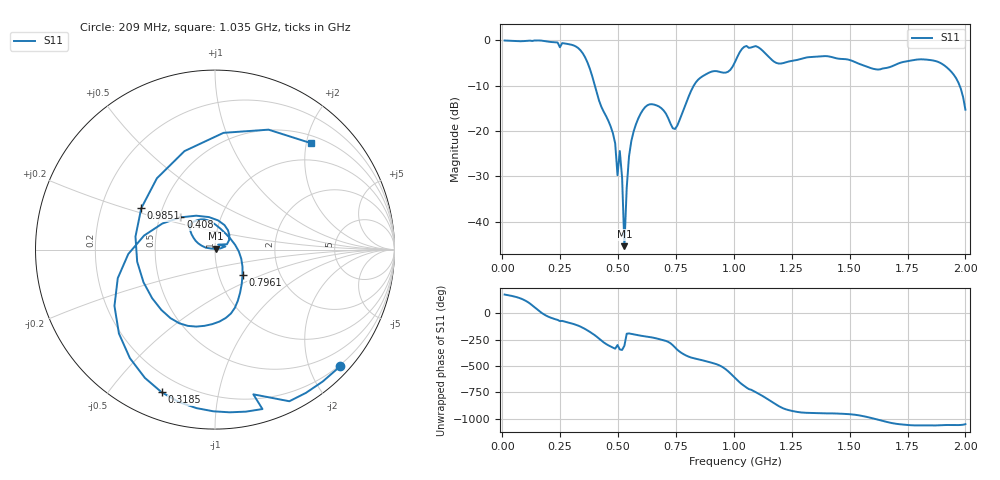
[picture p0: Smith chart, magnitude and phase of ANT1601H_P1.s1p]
!Created with skrf (http://scikit-rf.org).
# Hz S RI R 50.0
!freq ReS11 ImS11
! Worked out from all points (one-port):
!   201 points, 10 MHz to 2 GHz, reference 50 ohm
!   lowest |S11| = -45.3 dB at 527.4 MHz (marker M1), VSWR 1.01, Z = 50.3 + j0.432 ohm
!   |S11| at or under -10 dB: 399.6 MHz to 827.2 MHz (427.6 MHz wide, 69.7 % of centre); 1.975 GHz to end of sweep
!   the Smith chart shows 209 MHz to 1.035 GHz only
!   S11 on the Smith chart (normalised r, x): 209 MHz: 0.18, -2.54; 318.4 MHz: 0.12, -0.69; 408 MHz: 0.64, +0.25; 796 MHz: 1.30, -0.39; 985.1 MHz: 0.38, +0.23; 1.035 GHz: 0.64, +2.09
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1e7  -0.9864 0.0736
7.965e7  -0.7258 0.6455
1.1945e8  -0.0125 0.9862
1.5925e8  0.9324 0.3342
2.09e8  0.6991 -0.6487
2.5875e8  0.2643 -0.8883
3.1845e8  -0.2966 -0.7955
3.5825e8  -0.5601 -0.314
4.08e8  -0.1929 0.1796
4.9755e8  0.0172 0.0278
5.075e8  0.0577 0.0172
5.274e8  0.0033 0.00429
5.473e8  -0.0515 0.0108
5.871e8  -0.12 0.0662
7.5625e8  0.1123 0.0263
7.9605e8  0.1533 -0.1425
9.1545e8  -0.1991 -0.4104
9.851e8  -0.4109 0.2305
1.005e9  -0.17 0.5488
1.03485e9  0.535 0.5929
1.0846e9  0.8153 -0.2232
1.13435e9  0.1653 -0.7014
1.1841e9  -0.4624 -0.3164
1.25375e9  -0.5347 0.2542
1.5025e9  -0.3387 0.4969
1.75125e9  0.5422 0.2262
1.9204e9  0.4604 0.1928
2e9  0.1481 0.0866
